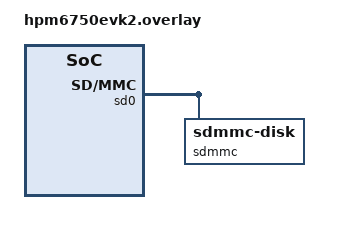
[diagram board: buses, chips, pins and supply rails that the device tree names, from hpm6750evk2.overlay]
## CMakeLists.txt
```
cmake_minimum_required(VERSION 3.20.0)

if(NOT DEFINED DTC_OVERLAY_FILE)
  set(DTC_OVERLAY_FILE "${CMAKE_CURRENT_SOURCE_DIR}/hpm6750evk2.overlay")
endif()

find_package(Zephyr REQUIRED HINTS $ENV{ZEPHYR_BASE})
project(sdhc_perf_test)

target_sources(app PRIVATE src/main.c)
```

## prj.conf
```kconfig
CONFIG_PRINTK=y
CONFIG_CONSOLE=y
CONFIG_UART_CONSOLE=y
CONFIG_SERIAL=y
CONFIG_LOG=y 
CONFIG_SDHC_LOG_LEVEL_DBG=y
CONFIG_DISK_ACCESS=y
CONFIG_DISK_DRIVER_SDMMC=y
CONFIG_SDMMC_SUBSYS=y
CONFIG_SDMMC_VOLUME_NAME="WBR"
CONFIG_TIMING_FUNCTIONS=y
CONFIG_MAIN_STACK_SIZE=4096
```

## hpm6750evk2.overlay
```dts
/*
 * SDXC0 on HPM6750EVK2.
 *
 * The disk name used by disk_access is CONFIG_SDMMC_VOLUME_NAME ("SDMMC" by
 * default). It is unrelated to the filesystem volume label printed on a PC.
 */

/ {
	aliases {
		sdhc0 = &sd0;
	};
};

&sd0 {
	status = "okay";
	pinctrl-0 = <&pinmux_sd>;
	pinctrl-1 = <&pinmux_sd>;
	pinctrl-2 = <&pinmux_sd>;
	pinctrl-3 = <&pinmux_sd>;
	pinctrl-4 = <&pinmux_sd>;
	pinctrl-names = "default", "slow", "med", "fast", "nopull";
	power-delay-ms = <100>;
	pwr-3v3-support;
	embedded-4-bit-support;

	sdmmc {
		compatible = "zephyr,sdmmc-disk";
		status = "okay";
	};
};
```

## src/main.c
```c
#include <stdint.h>
#include <string.h>

#include <zephyr/device.h>
#include <zephyr/drivers/sdhc.h>
#include <zephyr/kernel.h>
#include <zephyr/storage/disk_access.h>
#include <zephyr/sys/printk.h>

#if defined(CONFIG_DISK_DRIVER_SDMMC)
#define TEST_DISK_NAME CONFIG_SDMMC_VOLUME_NAME
#elif defined(CONFIG_DISK_DRIVER_MMC)
#define TEST_DISK_NAME CONFIG_MMC_VOLUME_NAME
#else
#define TEST_DISK_NAME "SDMMC"
#endif

#define TEST_SECTOR_SIZE 512U
#define TEST_BLOCK_COUNT 128U
#define TEST_BYTES (TEST_SECTOR_SIZE * TEST_BLOCK_COUNT)
#define TEST_ITERATIONS 8U
#define RANDOM_ITERATIONS 128U
#define WBR_SDHC_RAW_PROBE 1

static uint8_t test_buf[TEST_BYTES] __aligned(32);
static uint8_t read_buf[TEST_BYTES] __aligned(32);
static uint8_t backup_buf[TEST_BYTES] __aligned(32);
static uint32_t random_sectors[RANDOM_ITERATIONS];

static uint32_t sector_count;
static uint32_t sector_size;
static uint32_t test_start_sector;

static void print_sdhc_info(void)
{
#if DT_NODE_HAS_STATUS(DT_ALIAS(sdhc0), okay)
	const struct device *sdhc = DEVICE_DT_GET(DT_ALIAS(sdhc0));
	struct sdhc_host_props props;
	int rc;

	printk("[INFO] sdhc0 ready=%d\n", device_is_ready(sdhc));
	if (!device_is_ready(sdhc)) {
		return;
	}

	rc = sdhc_card_present(sdhc);
	printk("[INFO] sdhc0 card_present=%d\n", rc);

	rc = sdhc_get_host_props(sdhc, &props);
	if (rc == 0) {
		printk("[INFO] sdhc0 f_min=%u f_max=%u 4bit=%u 1v8=%u 3v3=%u\n",
		       props.f_min, props.f_max,
		       props.host_caps.bus_4_bit_support,
		       props.host_caps.vol_180_support,
		       props.host_caps.vol_330_support);
	} else {
		printk("[WARN] sdhc_get_host_props rc=%d\n", rc);
	}
#else
	printk("[WARN] no okay sdhc0 alias in devicetree\n");
#endif
}

static uint32_t lcg_next(uint32_t *state)
{
	*state = (*state * 1664525U) + 1013904223U;
	return *state;
}

static void fill_pattern(uint32_t seed)
{
	uint32_t value = seed;

	for (uint32_t i = 0; i < sizeof(test_buf); i++) {
		test_buf[i] = (uint8_t)lcg_next(&value);
	}
}

static uint64_t elapsed_us(int64_t start_us)
{
	int64_t elapsed = k_uptime_get() * 1000LL - start_us;

	return (elapsed > 0) ? (uint64_t)elapsed : 1U;
}

static void print_rate(const char *name, uint32_t bytes, uint64_t elapsed_us_value)
{
	uint64_t bytes_per_s = ((uint64_t)bytes * 1000000ULL) / elapsed_us_value;
	uint64_t kib_per_s = bytes_per_s / 1024ULL;
	uint64_t mib_x100 = (bytes_per_s * 100ULL) / (1024ULL * 1024ULL);

	printk("%s: %u bytes in %llu us, %llu KiB/s, %llu.%02llu MiB/s\n",
	       name, bytes, elapsed_us_value, kib_per_s,
	       mib_x100 / 100ULL, mib_x100 % 100ULL);
}

static int raw_send_cmd(const struct device *sdhc, uint32_t opcode,
			uint32_t arg, uint32_t response_type)
{
	struct sdhc_command cmd = {
		.opcode = opcode,
		.arg = arg,
		.response_type = response_type,
		.timeout_ms = 100,
		.retries = 0,
	};
	int rc;

	printk("[RAW] send CMD%u arg=0x%08x resp=0x%x\n", opcode, arg, response_type);
	rc = sdhc_request(sdhc, &cmd, NULL);
	printk("[RAW] CMD%u rc=%d r0=0x%08x\n", opcode, rc, cmd.response[0]);
	return rc;
}

static int raw_sdhc_probe(void)
{
#if DT_NODE_HAS_STATUS(DT_ALIAS(sdhc0), okay)
	const struct device *sdhc = DEVICE_DT_GET(DT_ALIAS(sdhc0));
	struct sdhc_io io = {
		.clock = 0,
		.bus_width = SDHC_BUS_WIDTH1BIT,
		.timing = SDHC_TIMING_LEGACY,
		.signal_voltage = SD_VOL_3_3_V,
		.power_mode = SDHC_POWER_OFF,
		.bus_mode = SDHC_BUSMODE_PUSHPULL,
	};
	int rc;

	printk("sdhc_raw_probe booted\n");
	print_sdhc_info();

	printk("[RAW] power off\n");
	rc = sdhc_set_io(sdhc, &io);
	printk("[RAW] set_io power off rc=%d\n", rc);
	k_msleep(100);

	printk("[RAW] power on\n");
	io.power_mode = SDHC_POWER_ON;
	rc = sdhc_set_io(sdhc, &io);
	printk("[RAW] set_io power on rc=%d\n", rc);
	k_msleep(100);

	printk("[RAW] clock 400k\n");
	io.clock = 400000;
	rc = sdhc_set_io(sdhc, &io);
	printk("[RAW] set_io clock rc=%d\n", rc);
	k_msleep(500);

	for (uint32_t i = 0; i < 10U; i++) {
		printk("[RAW] scope window %u\n", i);
		(void)raw_send_cmd(sdhc, SD_GO_IDLE_STATE, 0, SD_RSP_TYPE_NONE);
		k_msleep(500);
		(void)raw_send_cmd(sdhc, SD_SEND_IF_COND, 0x000001aa, SD_RSP_TYPE_R7);
		k_msleep(500);
		(void)raw_send_cmd(sdhc, SD_APP_CMD, 0, SD_RSP_TYPE_R1);
		k_msleep(500);
	}

	printk("[RAW] done\n");
	return 0;
#else
	printk("[RAW] no okay sdhc0 alias\n");
	return -ENODEV;
#endif
}

static int init_disk(void)
{
	int rc;

	printk("sdhc_perf_test booted, disk=%s\n", TEST_DISK_NAME);
	print_sdhc_info();

	printk("[INFO] calling disk_access_init(%s)\n", TEST_DISK_NAME);
	rc = disk_access_init(TEST_DISK_NAME);
	printk("[INFO] disk_access_init rc=%d\n", rc);
	if (rc != 0) {
		printk("[FAIL] disk_access_init rc=%d\n", rc);
		return rc;
	}

	rc = disk_access_status(TEST_DISK_NAME);
	if (rc != DISK_STATUS_OK) {
		printk("[FAIL] disk status rc=%d\n", rc);
		return -EIO;
	}

	rc = disk_access_ioctl(TEST_DISK_NAME, DISK_IOCTL_GET_SECTOR_COUNT, &sector_count);
	if (rc != 0) {
		printk("[FAIL] get sector count rc=%d\n", rc);
		return rc;
	}

	rc = disk_access_ioctl(TEST_DISK_NAME, DISK_IOCTL_GET_SECTOR_SIZE, &sector_size);
	if (rc != 0) {
		printk("[FAIL] get sector size rc=%d\n", rc);
		return rc;
	}

	printk("[INFO] sectors=%u sector_size=%u capacity=%llu MiB\n",
	       sector_count, sector_size,
	       ((uint64_t)sector_count * sector_size) / (1024ULL * 1024ULL));

	if (sector_size != TEST_SECTOR_SIZE) {
		printk("[FAIL] unsupported sector size %u\n", sector_size);
		return -ENOTSUP;
	}

	if (sector_count <= (TEST_BLOCK_COUNT + 4096U)) {
		printk("[FAIL] card is too small for test window\n");
		return -ENOSPC;
	}

	test_start_sector = sector_count - TEST_BLOCK_COUNT - 2048U;
	printk("[INFO] test window: start_sector=%u blocks=%u bytes=%u\n",
	       test_start_sector, TEST_BLOCK_COUNT, TEST_BYTES);

	return 0;
}

static int sequential_read_test(void)
{
	uint64_t total_us = 0U;
	int rc = 0;

	for (uint32_t i = 0; i < TEST_ITERATIONS; i++) {
		int64_t start_us = k_uptime_get() * 1000LL;

		rc = disk_access_read(TEST_DISK_NAME, read_buf, test_start_sector, TEST_BLOCK_COUNT);
		total_us += elapsed_us(start_us);
		if (rc != 0) {
			printk("[FAIL] sequential read rc=%d\n", rc);
			return rc;
		}
	}

	print_rate("[READ seq avg]", TEST_BYTES, total_us / TEST_ITERATIONS);
	return 0;
}

static int sequential_write_test(void)
{
	uint64_t total_us = 0U;
	int rc;

	rc = disk_access_read(TEST_DISK_NAME, backup_buf, test_start_sector, TEST_BLOCK_COUNT);
	if (rc != 0) {
		printk("[FAIL] backup read rc=%d\n", rc);
		return rc;
	}

	fill_pattern(0x6750U);

	for (uint32_t i = 0; i < TEST_ITERATIONS; i++) {
		int64_t start_us = k_uptime_get() * 1000LL;

		rc = disk_access_write(TEST_DISK_NAME, test_buf, test_start_sector, TEST_BLOCK_COUNT);
		total_us += elapsed_us(start_us);
		if (rc != 0) {
			printk("[FAIL] sequential write rc=%d\n", rc);
			goto restore;
		}
	}

	rc = disk_access_read(TEST_DISK_NAME, read_buf, test_start_sector, TEST_BLOCK_COUNT);
	if (rc != 0) {
		printk("[FAIL] verify read rc=%d\n", rc);
		goto restore;
	}

	if (memcmp(test_buf, read_buf, sizeof(test_buf)) != 0) {
		printk("[FAIL] write verify mismatch\n");
		rc = -EIO;
		goto restore;
	}

	print_rate("[WRITE seq avg]", TEST_BYTES, total_us / TEST_ITERATIONS);

restore:
	(void)disk_access_write(TEST_DISK_NAME, backup_buf, test_start_sector, TEST_BLOCK_COUNT);
	return rc;
}

static int single_block_latency_test(void)
{
	uint64_t read_total_us = 0U;
	uint64_t write_total_us = 0U;
	int rc;

	rc = disk_access_read(TEST_DISK_NAME, backup_buf, test_start_sector, 1);
	if (rc != 0) {
		printk("[FAIL] single backup read rc=%d\n", rc);
		return rc;
	}

	fill_pattern(0x512U);

	for (uint32_t i = 0; i < TEST_ITERATIONS; i++) {
		int64_t start_us = k_uptime_get() * 1000LL;

		rc = disk_access_read(TEST_DISK_NAME, read_buf, test_start_sector, 1);
		read_total_us += elapsed_us(start_us);
		if (rc != 0) {
			printk("[FAIL] single read rc=%d\n", rc);
			goto restore;
		}

		start_us = k_uptime_get() * 1000LL;
		rc = disk_access_write(TEST_DISK_NAME, test_buf, test_start_sector, 1);
		write_total_us += elapsed_us(start_us);
		if (rc != 0) {
			printk("[FAIL] single write rc=%d\n", rc);
			goto restore;
		}
	}

	printk("[LAT read 512B avg]: %llu us\n", read_total_us / TEST_ITERATIONS);
	printk("[LAT write 512B avg]: %llu us\n", write_total_us / TEST_ITERATIONS);

restore:
	(void)disk_access_write(TEST_DISK_NAME, backup_buf, test_start_sector, 1);
	return rc;
}

static int random_read_test(void)
{
	uint32_t rng = 0x12345678U;
	int64_t start_us;
	uint64_t total_us;
	int rc = 0;

	for (uint32_t i = 0; i < RANDOM_ITERATIONS; i++) {
		random_sectors[i] = test_start_sector +
				    (lcg_next(&rng) % TEST_BLOCK_COUNT);
	}

	start_us = k_uptime_get() * 1000LL;
	for (uint32_t i = 0; i < RANDOM_ITERATIONS; i++) {
		rc = disk_access_read(TEST_DISK_NAME, read_buf, random_sectors[i], 1);
		if (rc != 0) {
			printk("[FAIL] random read rc=%d\n", rc);
			return rc;
		}
	}
	total_us = elapsed_us(start_us);

	printk("[READ random 512B]: %u ops in %llu us, %llu IOPS, avg %llu us/op\n",
	       RANDOM_ITERATIONS, total_us,
	       ((uint64_t)RANDOM_ITERATIONS * 1000000ULL) / total_us,
	       total_us / RANDOM_ITERATIONS);

	return 0;
}

int main(void)
{
#if WBR_SDHC_RAW_PROBE
	return raw_sdhc_probe();
#endif

	int rc = init_disk();

	if (rc != 0) {
		return rc;
	}

	printk("[WARN] write tests temporarily overwrite and restore the test window.\n");

	rc = sequential_read_test();
	if (rc == 0) {
		rc = sequential_write_test();
	}
	if (rc == 0) {
		rc = single_block_latency_test();
	}
	if (rc == 0) {
		rc = random_read_test();
	}

	printk("sdhc_perf_test %s\n", (rc == 0) ? "done" : "failed");
	return rc;
}
```
